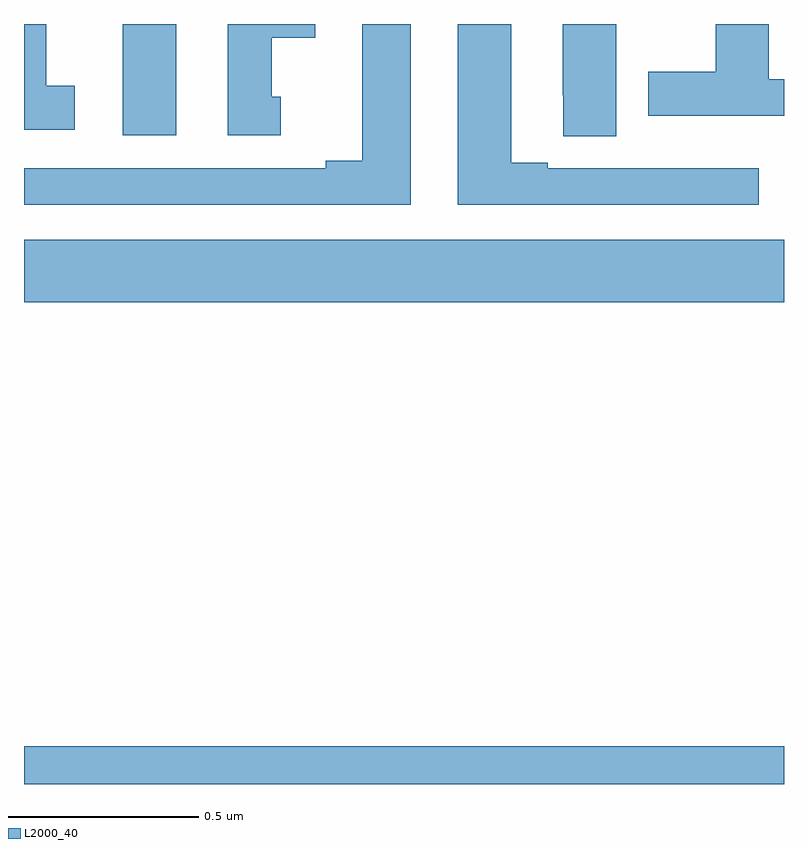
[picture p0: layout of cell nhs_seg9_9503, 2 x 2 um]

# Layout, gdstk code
import gdstk
lib = gdstk.Library(unit=1e-6, precision=1e-09)
def R(c, l, rs):  # rectangles x0, y0, x1, y1
    for r in rs: c.add(gdstk.rectangle(r[:2], r[2:], *l))
def P(c, l, *ps):  # polygons
    for p in ps: c.add(gdstk.Polygon(p, *l))
L2000_40 = (2000, 40)

nhs_seg9_9503 = lib.new_cell('nhs_seg9_9503')
R(nhs_seg9_9503, L2000_40, [(231,1180.5,233,1180.6), (231,1181.768,233,1181.932), (231.26,1182.207,231.4,1182.5)])
P(nhs_seg9_9503, L2000_40, [(232.933,1182.12),(232.82,1182.12),(232.82,1182.121),(232.654,1182.121),(232.654,1182.12),(232.378,1182.12),(232.378,1182.135),(232.282,1182.135),(232.282,1182.5),(232.142,1182.5),(232.142,1182.024),(232.933,1182.024)],
  [(233,1182.354),(232.96,1182.354),(232.96,1182.5),(232.82,1182.5),(232.82,1182.375),(232.643,1182.375),(232.643,1182.258),(233,1182.258)],
  [(232.558,1182.5),(232.418,1182.5),(232.418,1182.313),(232.419,1182.313),(232.419,1182.205),(232.558,1182.205)],
  [(231.676,1182.309),(231.652,1182.309),(231.652,1182.464),(231.766,1182.464),(231.766,1182.5),(231.536,1182.5),(231.536,1182.207),(231.676,1182.207)],
  [(232.018,1182.5),(231.89,1182.5),(231.89,1182.14),(231.794,1182.14),(231.794,1182.12),(231,1182.12),(231,1182.024),(232.018,1182.024)],
  [(231.133,1182.338),(231.058,1182.338),(231.058,1182.5),(231,1182.5),(231,1182.222),(231.133,1182.222)])

lib.write_gds('nhs_seg9_9503.gds')
